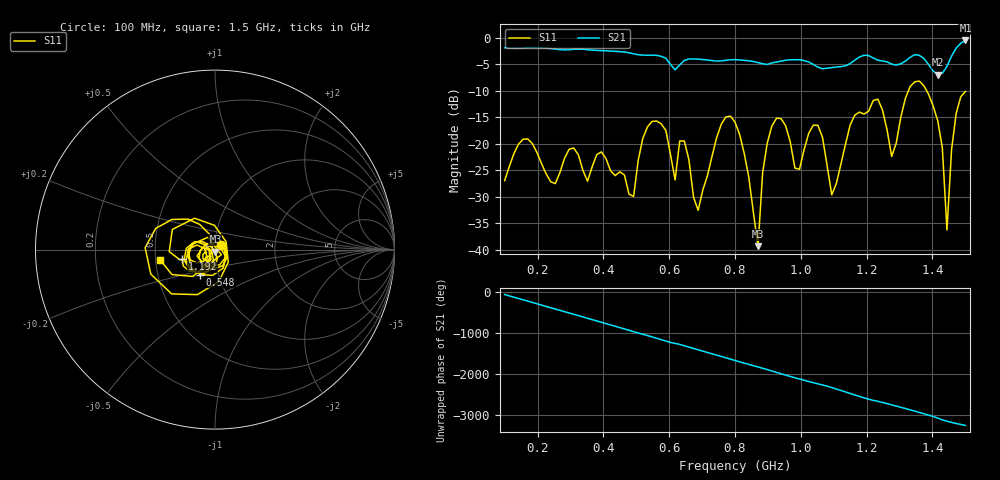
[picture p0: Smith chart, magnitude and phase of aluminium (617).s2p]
! NanoVNA-App
! Date: 2025-09-25 15:00:05
! Start: 100MHz Stop: 1,5GHz Points: 101
! S-Parameter data: F S11 S21 S12 S22
# Hz S RI R 50
!  Frequency  S11_Real  S11_Imag  S21_Real  S21_Imag  S12_Real  S12_Imag  S22_Real  S22_Imag
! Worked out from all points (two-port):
!   101 points, 100 MHz to 1.5 GHz, reference 50 ohm
!   highest |S21| = -0.55 dB at 1.5 GHz (marker M1); lowest = -7.0 dB at 1.416 GHz (marker M2)
!   |S21| within 3 dB of the highest: start of sweep to 576.5 MHz; 1.458 GHz to end of sweep (the widest 2 of 4)
!   lowest |S11| = -39.3 dB at 870 MHz (marker M3), VSWR 1.02, Z = 50.2 - j1.07 ohm
!   |S11| at or under -10 dB: start of sweep to 1.327 GHz; 1.382 GHz to end of sweep
!   S12 and S22 are empty: the file has one direction only
!   S11 on the Smith chart (normalised r, x): 100 MHz: 1.07, +0.06; 548 MHz: 0.82, -0.24; 1.192 GHz: 0.69, -0.08; 1.5 GHz: 0.53, -0.07
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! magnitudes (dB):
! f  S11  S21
! 100 MHz  -27.0  -1.9
! 156 MHz  -19.1  -2.0
! 338 MHz  -25.0  -2.2
! 492 MHz  -29.9  -3.1
! 548 MHz  -15.8  -3.3
! 576 MHz  -16.3  -3.5
! 618 MHz  -26.8  -6.1
! 646 MHz  -19.5  -4.3
! 688 MHz  -32.5  -4.1
! 800 MHz  -15.9  -4.2
! 870 MHz  -39.3  -4.7
! 912 MHz  -16.7  -4.8
! 996 MHz  -24.8  -4.2
! 1.038 GHz  -16.5  -5.1
! 1.094 GHz  -29.6  -5.7
! 1.192 GHz  -14.4  -3.3
! 1.276 GHz  -22.4  -5.0
! 1.346 GHz  -8.3  -3.2
! 1.416 GHz  -15.7  -7.0
! 1.444 GHz  -36.2  -5.4
! 1.472 GHz  -14.3  -2.0
! 1.5 GHz  -10.1  -0.5
